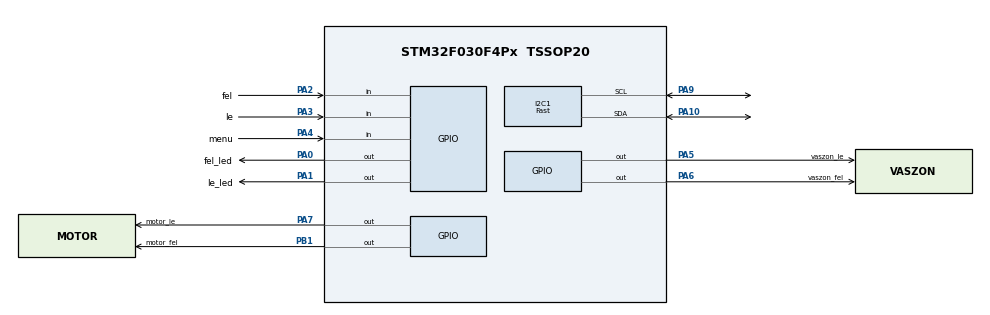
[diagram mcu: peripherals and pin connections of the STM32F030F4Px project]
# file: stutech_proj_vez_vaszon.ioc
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I2C1.I2C_Speed_Mode=I2C_Fast
I2C1.Timing=0x0000020B
Mcu.Family=STM32F0
Mcu.Name=STM32F030F4Px
Mcu.Package=TSSOP20
NVIC.TIM17_IRQn=true\:0\:0\:false\:false\:true\:true\:true
PA0.GPIO_Label=fel_led
PA0.GPIO_Speed=GPIO_SPEED_FREQ_HIGH
PA0.Signal=GPIO_Output
PA1.GPIO_Label=le_led
PA1.GPIO_Speed=GPIO_SPEED_FREQ_HIGH
PA1.Signal=GPIO_Output
PA10.Mode=I2C
PA10.Signal=I2C1_SDA
PA13.Mode=Serial_Wire
PA13.Signal=SYS_SWDIO
PA14.Mode=Serial_Wire
PA14.Signal=SYS_SWCLK
PA2.GPIO_Label=fel
PA2.Signal=GPIO_Input
PA3.GPIO_Label=le
PA3.Signal=GPIO_Input
PA4.GPIO_Label=menu
PA4.Signal=GPIO_Input
PA5.GPIO_Label=vaszon_le
PA5.GPIO_Speed=GPIO_SPEED_FREQ_HIGH
PA5.Signal=GPIO_Output
PA6.GPIO_Label=vaszon_fel
PA6.GPIO_Speed=GPIO_SPEED_FREQ_HIGH
PA6.Signal=GPIO_Output
PA7.GPIO_Label=motor_le
PA7.GPIO_Speed=GPIO_SPEED_FREQ_HIGH
PA7.Signal=GPIO_Output
PA9.Mode=I2C
PA9.Signal=I2C1_SCL
PB1.GPIO_Label=motor_fel
PB1.GPIO_Speed=GPIO_SPEED_FREQ_HIGH
PB1.Signal=GPIO_Output
PF0-OSC_IN.Mode=HSE-External-Oscillator
PF0-OSC_IN.Signal=RCC_OSC_IN
PF1-OSC_OUT.Mode=HSE-External-Oscillator
PF1-OSC_OUT.Signal=RCC_OSC_OUT
ProjectManager.HeapSize=0x200
ProjectManager.StackSize=0x400
ProjectManager.TargetToolchain=MDK-ARM V5.27
RCC.AHBFreq_Value=48000000
RCC.APB1Freq_Value=48000000
RCC.APB1TimFreq_Value=48000000
RCC.HCLKFreq_Value=48000000
RCC.PLLMUL=RCC_PLL_MUL6
RCC.PLLSourceVirtual=RCC_PLLSOURCE_HSE
RCC.SYSCLKFreq_VALUE=48000000
RCC.SYSCLKSource=RCC_SYSCLKSOURCE_PLLCLK
TIM17.AutoReloadPreload=TIM_AUTORELOAD_PRELOAD_ENABLE
TIM17.Period=4469
TIM17.Prescaler=10
VP_TIM17_VS_ClockSourceINT.Mode=Enable_Timer
board=custom

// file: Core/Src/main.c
/* USER CODE BEGIN Header */
/**
  ******************************************************************************
  * @file           : main.c
  * @brief          : Main program body
  ******************************************************************************
  * @attention
  *
  * <h2><center>&copy; Copyright ( c ) 2020 STMicroelectronics.
  * All rights reserved.</center></h2>
  *
  * This software component is licensed by ST under BSD 3-Clause license,
  * the "License"; You may not use this file except in compliance with the
  * License. You may obtain a copy of the License at:
  *                        opensource.org/licenses/BSD-3-Clause
  *
  ******************************************************************************
  */
/* USER CODE END Header */
#include "main.h"

/* USER CODE BEGIN Includes */
#include "ssd1306.h"
#include "stdio.h"
/* USER CODE END Includes */

/* USER CODE BEGIN PD */
#define MENU_PRESSED 0x1
#define FEL_PRESSED 0x2
#define LE_PRESSED 0x4

/* USER CODE END PD */

I2C_HandleTypeDef hi2c1;

TIM_HandleTypeDef htim17;

/* USER CODE BEGIN PV */
int actgomb[ 4 ];
int lastgomb[ 4 ];
int prelltime = 10;
int prelltimer;
char buffer[ 40 ];
char buffer2[ 40 ];
uint8_t flags;
int menutime;
int delaycount = 0;
uint8_t menucount;
uint8_t disptime;
int menukilepes = 20000;
int temp[ 4 ];
uint8_t state = 0;
uint32_t vaszonfeldelay,vaszonledelay,motorfeldelay,motorledelay,motorle1mp = 0,motorfel1mp = 0;
uint8_t laststate;
uint8_t ledone = 1,feldone = 1;
int lecounter,felcounter,feltime,letime;
uint8_t villtimer;
/* USER CODE END PV */

void SystemClock_Config( void );
static void MX_GPIO_Init( void );
static void MX_TIM17_Init( void );
static void MX_I2C1_Init( void );
/* USER CODE BEGIN PFP */
void readgomb( void );
int eeprom_read( uint8_t id );
void eeprom_write( int data,int addr );
/* USER CODE END PFP */

/* USER CODE BEGIN 0 */
void readgomb( void )
					{
						actgomb[ 0 ] = HAL_GPIO_ReadPin( fel_GPIO_Port, fel_Pin );
						actgomb[ 1 ] = HAL_GPIO_ReadPin( le_GPIO_Port, le_Pin );
						actgomb[ 2 ] = HAL_GPIO_ReadPin( menu_GPIO_Port, menu_Pin );
					}
int eeprom_read( uint8_t id )
{
	int eepromvalue;
	switch ( id )
	{
		case 0:
			eepromvalue = *(__IO uint16_t *)(0x8003C02);
		break;
		case 1:
			eepromvalue = *(__IO uint16_t *)(0x8003C02 + 2);
		break;
		case 2:
			eepromvalue = *(__IO uint16_t *)(0x8003C02 + 4);
		break;
		case 3:
			eepromvalue = *(__IO uint16_t *)(0x8003C02 + 6);
		break;
	}
	if( eepromvalue > 300)
	{
		eepromvalue = 300;
	}
	return eepromvalue;
}
void eeprom_write( int data,int addr )
{

	switch ( addr )
	{
		case 0:
			HAL_FLASH_Unlock();
			HAL_FLASH_Program(FLASH_TYPEPROGRAM_HALFWORD,0x8003C02,data);
			HAL_FLASH_Lock();
		break;
		case 1:
			HAL_FLASH_Unlock();
			HAL_FLASH_Program(FLASH_TYPEPROGRAM_HALFWORD,0x8003C02+2,data);
			HAL_FLASH_Lock();
		break;
		case 2:
			HAL_FLASH_Unlock();
			HAL_FLASH_Program(FLASH_TYPEPROGRAM_HALFWORD,0x8003C02+4,data);
			HAL_FLASH_Lock();
		break;
		case 3:
			HAL_FLASH_Unlock();
			HAL_FLASH_Program(FLASH_TYPEPROGRAM_HALFWORD,0x8003C02+6,data);
			HAL_FLASH_Lock();
		break;
	}

}
/* USER CODE END 0 */

int main( void )
{

  /* MCU Configuration--------------------------------------------------------*/

  /* Reset of all peripherals, Initializes the Flash interface and the Systick. */
  HAL_Init( );

  /* Configure the system clock */
  SystemClock_Config( );

  /* Initialize all configured peripherals */
  MX_GPIO_Init( );
  MX_TIM17_Init( );
  MX_I2C1_Init( );
  /* USER CODE BEGIN 2 */
	readgomb( );
	lastgomb[ 0 ] = actgomb[ 0 ];
	lastgomb[ 1 ] = actgomb[ 1 ];
	lastgomb[ 2 ] = actgomb[ 2 ];

	temp[ 0 ] = eeprom_read( 0 );
	temp[ 1 ] = eeprom_read( 1 );
	temp[ 2 ] = eeprom_read( 2 );
	temp[ 3 ] = eeprom_read( 3 );
//temp[0] = 0;
//temp[1] = 0;
//temp[2] = 0;
//temp[3] = 0;

	ssd1306_Init( );
	ssd1306_SetCursor( 0,0 );
	ssd1306_WriteString( "hello",Font_7x10,White );
	ssd1306_UpdateScreen( );
	HAL_TIM_Base_Start_IT( &htim17 );
  /* USER CODE END 2 */

  /* Infinite loop */
  /* USER CODE BEGIN WHILE */
    while ( 1 )
    {
			if( ( disptime > 100 ) && ( prelltimer == 0 ) )
			{
				switch ( menucount )
				{
					case 0:
						if( state == 0 )
						{
							switch( laststate )
							{
								case 0:
									sprintf( buffer,"1 egyseg =    " );
									sprintf( buffer2,"0.5 mp       ");
									HAL_GPIO_WritePin(le_led_GPIO_Port,le_led_Pin,GPIO_PIN_RESET);
									HAL_GPIO_WritePin(fel_led_GPIO_Port,fel_led_Pin,GPIO_PIN_RESET);
									break;
								case 1:
									sprintf( buffer,"leengedve    " );
									sprintf( buffer2,"M:%d V:%d         ", temp[ 0 ], temp[ 1 ] );
									HAL_GPIO_WritePin(le_led_GPIO_Port,le_led_Pin,GPIO_PIN_RESET);
									HAL_GPIO_WritePin(fel_led_GPIO_Port,fel_led_Pin,GPIO_PIN_RESET);
									break;
								case 2:
									sprintf( buffer,"felhuzva    " );
									sprintf( buffer2,"M:%d V:%d         ", temp[ 2 ], temp[ 3 ] );
									HAL_GPIO_WritePin(le_led_GPIO_Port,le_led_Pin,GPIO_PIN_RESET);
									HAL_GPIO_WritePin(fel_led_GPIO_Port,fel_led_Pin,GPIO_PIN_RESET);
									break;
								case 3:
									sprintf( buffer,"le stop    " );
									sprintf( buffer2,"M:%d V:%d         ", motorledelay/500, vaszonledelay/500 );
									HAL_GPIO_WritePin(le_led_GPIO_Port,le_led_Pin,GPIO_PIN_SET);
									HAL_GPIO_WritePin(fel_led_GPIO_Port,fel_led_Pin,GPIO_PIN_RESET);
									break;
								case 4:
									sprintf( buffer,"fel stop    " );
									sprintf( buffer2,"M:%d V:%d         ", motorfeldelay/500, vaszonfeldelay/500 );
									HAL_GPIO_WritePin(le_led_GPIO_Port,le_led_Pin,GPIO_PIN_RESET);
									HAL_GPIO_WritePin(fel_led_GPIO_Port,fel_led_Pin,GPIO_PIN_SET);
									break;
							}
						}
						if( state == 1 )
						{
							villtimer++;
							if( villtimer > 4 )
							{
								HAL_GPIO_TogglePin(le_led_GPIO_Port,le_led_Pin);
								HAL_GPIO_WritePin(fel_led_GPIO_Port,fel_led_Pin,GPIO_PIN_RESET);
								villtimer = 0;
							}
							sprintf( buffer,"leenged      " );
							sprintf( buffer2,"M:%d V:%d        ", ( motorledelay + motorle1mp )/500, vaszonledelay/500 );
						}
						if( state == 2 )
						{
							villtimer++;
							if( villtimer > 4 )
							{
								HAL_GPIO_TogglePin(fel_led_GPIO_Port,fel_led_Pin);
								HAL_GPIO_WritePin(le_led_GPIO_Port,le_led_Pin,GPIO_PIN_RESET);
								villtimer = 0;
							}
							sprintf( buffer,"felhuz        " );
							sprintf( buffer2,"M:%d V:%d        ", ( motorfeldelay + motorfel1mp )/500, vaszonfeldelay/500 );
						}
					break;
					case 1:
						sprintf( buffer,"Motor le:     " );
						sprintf( buffer2,"%d x0.5mp       ", temp[ 0 ] );
					break;
					case 2:
						sprintf( buffer,"Vaszon le:    " );
						sprintf( buffer2,"%d x0.5mp       ", temp[ 1 ] );
					break;
					case 3:
						sprintf( buffer,"Motor fel:  " );
						sprintf( buffer2,"%d x0.5mp       ", temp[ 2 ] );
					break;
					case 4:
						sprintf( buffer,"Vaszon fel: " );
						sprintf( buffer2,"%d x0.5mp       ", temp[ 3 ] );
					break;
				}
				ssd1306_SetCursor( 0, 0 );
				ssd1306_WriteString( buffer,Font_11x18,White );
				ssd1306_SetCursor( 0, 17 );
				ssd1306_WriteString( buffer2,Font_11x18,White );
				ssd1306_UpdateScreen( );
			}

			readgomb( );
			if( ( lastgomb[ 0 ] != actgomb[ 0 ] ) ||
				  ( lastgomb[ 1 ] != actgomb[ 1 ] ) ||
				  ( lastgomb[ 2 ] != actgomb[ 2 ] ) )
						{
								prelltimer = prelltime;
								while( prelltimer > 0 )
												{
														readgomb( );
														if( lastgomb[ 0 ] != actgomb[ 0 ] )
															{
																	prelltimer = prelltime;
																	lastgomb[ 0 ] = actgomb[ 0 ];
															}
														if( lastgomb[ 1 ] != actgomb[ 1 ] )
															{
																	prelltimer = prelltime;
																	lastgomb[ 1 ] = actgomb[ 1 ];
															}
														if( lastgomb[ 2 ] != actgomb[ 2 ] )
															{
																	prelltimer = prelltime;
																	lastgomb[ 2 ] = actgomb[ 2 ];
															}
												}
								if( lastgomb[ 0 ] == 0 )//gomb1 FEL
								{
									flags |= FEL_PRESSED;
									feltime = 500;
									if( menucount == 0 )
										{
											if( state == 0 )
												{
													motorledelay = temp[ 0 ] * 500;
													vaszonledelay = temp[ 1 ] * 500;
													state = 2;
												}
											if( state != 2 )
												{
													state = 0;
													ledone = 1;
													laststate = 3;
												}
											if( ( state == 2 ) && ( feldone == 1 ) )
												{
													feldone = 0;
													laststate = 2;
													motorfel1mp = 1000;
													if( motorfeldelay == 0 )
														{
															motorfeldelay = temp[ 2 ] * 500;
														}
													if( vaszonfeldelay == 0 )
														{
															vaszonfeldelay = temp[ 3 ] * 500;
														}
												}
										}
									if ( menucount != 0 )
									{
										menukilepes = 20000;
									}
									switch ( menucount )
									{
										case 1:
											temp[ 0 ] ++;
										if( temp[ 0 ] > 300 )
											{
												temp[ 0 ] = 0;
											}
										break;
										case 2:
											temp[ 1 ] ++;
										if( temp[ 1 ] > 300 )
											{
												temp[ 1 ] = 0;
											}
										break;
										case 3:
											temp[ 2 ] ++;
										if( temp[ 2 ] > 300 )
											{
												temp[ 2 ] = 0;
											}
										break;
										case 4:
											temp[ 3 ] ++;
										if( temp[ 3 ] > 300 )
											{
												temp[ 3 ] = 0;
											}
										break;
										default:
											break;
									}
								}
								else
									{
										flags &= ~FEL_PRESSED;
									}
								if( lastgomb[ 1 ] == 0 )//gomb2 LEFELE
									{
										flags |= LE_PRESSED;
										letime = 500;
										if( menucount == 0 )
											{
												if ( state == 0 )
													{
														state = 1;
														motorfeldelay = temp[ 2 ] * 500;
														vaszonfeldelay = temp[ 3 ] * 500;
													}
												if(  state != 1   )
													{
														state = 0;
														laststate = 4;
														feldone= 1;
													}
												if( ( state == 1 ) && ( ledone == 1 ) )
													{
														ledone = 0;
														laststate = 1;
														motorle1mp = 1000;
														if( motorledelay == 0 )
															{
																motorledelay = temp[ 0 ] * 500;

															}
														if( vaszonledelay == 0 )
															{
																vaszonledelay = temp[ 1 ] * 500;

															}
													}
											 }
										if ( menucount != 0 )
											{
												menukilepes = 20000;
											}
										switch ( menucount )
											{
												case 1:
													temp[ 0 ] --;
													if ( temp[ 0 ] < 0 )
														{
															temp[ 0 ] = 300;
														}
												break;
												case 2:
													temp[ 1 ] --;
													if ( temp[ 1 ] < 0 )
														{
															temp[ 1 ] = 300;
														}
												break;
												case 3:
													temp[ 2 ] --;
													if ( temp[ 2 ] < 0 )
														{
															temp[ 2 ] = 300;
														}
												break;
												case 4:
													temp[ 3 ] --;
													if ( temp[ 3 ] < 0 )
														{
															temp[ 3 ] = 300;
														}
												break;
												default:
													break;
											}
									}
									else
									{
										flags &= ~LE_PRESSED;
									}
								if( lastgomb[ 2 ] == 0 )//gomb3
									{
										if ( menucount != 0 )
											{
												menukilepes = 20000;
											}
											flags |= MENU_PRESSED;
									}
								else
									{
										flags &= ~MENU_PRESSED;
									}
	      }
    /* USER CODE END WHILE */

    }
}

void SystemClock_Config( void )
{
  RCC_OscInitTypeDef RCC_OscInitStruct = {0};
  RCC_ClkInitTypeDef RCC_ClkInitStruct = {0};
  RCC_PeriphCLKInitTypeDef PeriphClkInit = {0};

  /** Initializes the RCC Oscillators according to the specified parameters
  * in the RCC_OscInitTypeDef structure.
  */
  RCC_OscInitStruct.OscillatorType = RCC_OSCILLATORTYPE_HSI|RCC_OSCILLATORTYPE_HSE;
  RCC_OscInitStruct.HSEState = RCC_HSE_ON;
  RCC_OscInitStruct.HSIState = RCC_HSI_ON;
  RCC_OscInitStruct.HSICalibrationValue = RCC_HSICALIBRATION_DEFAULT;
  RCC_OscInitStruct.PLL.PLLState = RCC_PLL_ON;
  RCC_OscInitStruct.PLL.PLLSource = RCC_PLLSOURCE_HSE;
  RCC_OscInitStruct.PLL.PLLMUL = RCC_PLL_MUL6;
  RCC_OscInitStruct.PLL.PREDIV = RCC_PREDIV_DIV1;
  if ( HAL_RCC_OscConfig( &RCC_OscInitStruct ) != HAL_OK )
  {
    Error_Handler( );
  }
  /** Initializes the CPU, AHB and APB buses clocks
  */
  RCC_ClkInitStruct.ClockType = RCC_CLOCKTYPE_HCLK|RCC_CLOCKTYPE_SYSCLK
                              |RCC_CLOCKTYPE_PCLK1;
  RCC_ClkInitStruct.SYSCLKSource = RCC_SYSCLKSOURCE_PLLCLK;
  RCC_ClkInitStruct.AHBCLKDivider = RCC_SYSCLK_DIV1;
  RCC_ClkInitStruct.APB1CLKDivider = RCC_HCLK_DIV1;

  if ( HAL_RCC_ClockConfig( &RCC_ClkInitStruct, FLASH_LATENCY_1 ) != HAL_OK )
  {
    Error_Handler( );
  }
  PeriphClkInit.PeriphClockSelection = RCC_PERIPHCLK_I2C1;
  PeriphClkInit.I2c1ClockSelection = RCC_I2C1CLKSOURCE_HSI;
  if ( HAL_RCCEx_PeriphCLKConfig( &PeriphClkInit ) != HAL_OK )
  {
    Error_Handler( );
  }
}

static void MX_I2C1_Init( void )
{

  hi2c1.Instance = I2C1;
  hi2c1.Init.Timing = 0x0000020B;
  hi2c1.Init.OwnAddress1 = 0;
  hi2c1.Init.AddressingMode = I2C_ADDRESSINGMODE_7BIT;
  hi2c1.Init.DualAddressMode = I2C_DUALADDRESS_DISABLE;
  hi2c1.Init.OwnAddress2 = 0;
  hi2c1.Init.OwnAddress2Masks = I2C_OA2_NOMASK;
  hi2c1.Init.GeneralCallMode = I2C_GENERALCALL_DISABLE;
  hi2c1.Init.NoStretchMode = I2C_NOSTRETCH_DISABLE;
  if ( HAL_I2C_Init( &hi2c1 ) != HAL_OK )
  {
    Error_Handler( );
  }
  /** Configure Analogue filter
  */
  if ( HAL_I2CEx_ConfigAnalogFilter( &hi2c1, I2C_ANALOGFILTER_ENABLE ) != HAL_OK )
  {
    Error_Handler( );
  }
  /** Configure Digital filter
  */
  if ( HAL_I2CEx_ConfigDigitalFilter( &hi2c1, 0 ) != HAL_OK )
  {
    Error_Handler( );
  }

}

static void MX_TIM17_Init( void )
{

  htim17.Instance = TIM17;
  htim17.Init.Prescaler = 10;
  htim17.Init.CounterMode = TIM_COUNTERMODE_UP;
  htim17.Init.Period = 4469;
  htim17.Init.ClockDivision = TIM_CLOCKDIVISION_DIV1;
  htim17.Init.RepetitionCounter = 0;
  htim17.Init.AutoReloadPreload = TIM_AUTORELOAD_PRELOAD_ENABLE;
  if ( HAL_TIM_Base_Init( &htim17 ) != HAL_OK )
  {
    Error_Handler( );
  }

}

static void MX_GPIO_Init( void )
{
  GPIO_InitTypeDef GPIO_InitStruct = {0};

  /* GPIO Ports Clock Enable */
  __HAL_RCC_GPIOF_CLK_ENABLE( );
  __HAL_RCC_GPIOA_CLK_ENABLE( );
  __HAL_RCC_GPIOB_CLK_ENABLE( );

  /*Configure GPIO pin Output Level */
  HAL_GPIO_WritePin( GPIOA, fel_led_Pin|le_led_Pin|vaszon_le_Pin|vaszon_fel_Pin
                          |motor_le_Pin, GPIO_PIN_RESET );

  /*Configure GPIO pin Output Level */
  HAL_GPIO_WritePin( motor_fel_GPIO_Port, motor_fel_Pin, GPIO_PIN_RESET );

  /*Configure GPIO pins : fel_led_Pin le_led_Pin vaszon_le_Pin vaszon_fel_Pin
                           motor_le_Pin */
  GPIO_InitStruct.Pin = fel_led_Pin|le_led_Pin|vaszon_le_Pin|vaszon_fel_Pin
                          |motor_le_Pin;
  GPIO_InitStruct.Mode = GPIO_MODE_OUTPUT_PP;
  GPIO_InitStruct.Pull = GPIO_NOPULL;
  GPIO_InitStruct.Speed = GPIO_SPEED_FREQ_LOW;
  HAL_GPIO_Init( GPIOA, &GPIO_InitStruct );

  /*Configure GPIO pins : fel_Pin le_Pin menu_Pin */
  GPIO_InitStruct.Pin = fel_Pin|le_Pin|menu_Pin;
  GPIO_InitStruct.Mode = GPIO_MODE_INPUT;
  GPIO_InitStruct.Pull = GPIO_PULLUP;
  HAL_GPIO_Init( GPIOA, &GPIO_InitStruct );

  /*Configure GPIO pin : motor_fel_Pin */
  GPIO_InitStruct.Pin = motor_fel_Pin;
  GPIO_InitStruct.Mode = GPIO_MODE_OUTPUT_PP;
  GPIO_InitStruct.Pull = GPIO_NOPULL;
  GPIO_InitStruct.Speed = GPIO_SPEED_FREQ_HIGH;
  HAL_GPIO_Init( motor_fel_GPIO_Port, &GPIO_InitStruct );

}

/* USER CODE BEGIN 4 */
void HAL_TIM_PeriodElapsedCallback( TIM_HandleTypeDef *htim )
					{
						if( flags & LE_PRESSED )
						{
							letime--;
							if( letime <= 1 )
							{
								letime = 1;
								lecounter++;
								if( lecounter > 50 )
								{
									if ( menucount != 0 )
									{
										menukilepes = 20000;
									}
									switch ( menucount )
											{
												case 1:
													temp[ 0 ] --;
													if ( temp[ 0 ] < 0 )
														{
															temp[ 0 ] = 300;
														}
												break;
												case 2:
													temp[ 1 ] --;
													if ( temp[ 1 ] < 0 )
														{
															temp[ 1 ] = 300;
														}
												break;
												case 3:
													temp[ 2 ] --;
													if ( temp[ 2 ] < 0 )
														{
															temp[ 2 ] = 300;
														}
												break;
												case 4:
													temp[ 3 ] --;
													if ( temp[ 3 ] < 0 )
														{
															temp[ 3 ] = 300;
														}
												break;
												default:
													break;
											}
											lecounter = 0;
								}
							}
						}
						if( flags & FEL_PRESSED )
						{
							feltime--;
							if( feltime <=1 )
							{
								feltime = 1;
								felcounter++;
								if( felcounter > 50 )
								{
									if ( menucount != 0 )
									{
										menukilepes = 20000;
									}
									switch ( menucount )
									{
										case 1:
											temp[ 0 ] ++;
										if( temp[ 0 ] > 300 )
											{
												temp[ 0 ] = 0;
											}
										break;
										case 2:
											temp[ 1 ] ++;
										if( temp[ 1 ] > 300 )
											{
												temp[ 1 ] = 0;
											}
										break;
										case 3:
											temp[ 2 ] ++;
										if( temp[ 2 ] > 300 )
											{
												temp[ 2 ] = 0;
											}
										break;
										case 4:
											temp[ 3 ] ++;
										if( temp[ 3 ] > 300 )
											{
												temp[ 3 ] = 0;
											}
										break;
										default:
											break;
									}
									felcounter = 0;
								}
							}
						}
						disptime++;
						switch ( state )
						{
							case 0:
							HAL_GPIO_WritePin(motor_fel_GPIO_Port,motor_fel_Pin,GPIO_PIN_RESET);
							HAL_GPIO_WritePin(motor_le_GPIO_Port,motor_le_Pin,GPIO_PIN_RESET);
							HAL_GPIO_WritePin(vaszon_fel_GPIO_Port,vaszon_fel_Pin,GPIO_PIN_RESET);
							HAL_GPIO_WritePin(vaszon_le_GPIO_Port,vaszon_le_Pin,GPIO_PIN_RESET);
							break;

							case 1:
							if( motorle1mp > 0 )
							{
								motorle1mp--;
							}
							else if( motorle1mp == 0 )
							{
								if( vaszonledelay > 0 )
								{
									HAL_GPIO_WritePin(vaszon_le_GPIO_Port,vaszon_le_Pin,GPIO_PIN_SET);
									vaszonledelay--;
								}
								else
								{
									HAL_GPIO_WritePin(vaszon_le_GPIO_Port,vaszon_le_Pin,GPIO_PIN_RESET);
								}
							}
								if( motorledelay > 0 )
								{
									HAL_GPIO_WritePin(motor_le_GPIO_Port,motor_le_Pin,GPIO_PIN_SET);
									motorledelay--;

								}
								else
								{
									HAL_GPIO_WritePin(motor_le_GPIO_Port,motor_le_Pin,GPIO_PIN_RESET);
								}
								if( (vaszonledelay == 0) && (motorledelay == 0))
								{
									state = 0;
									ledone = 1;
								}

							break;

							case 2:
								if( motorfel1mp > 0 )
									{
										motorfel1mp--;
									}
								if( motorfel1mp == 0 )
									{
										if( vaszonfeldelay > 0 )
										{
											HAL_GPIO_WritePin( vaszon_fel_GPIO_Port,vaszon_fel_Pin,GPIO_PIN_SET );
											vaszonfeldelay--;
										}
										else
										{
											HAL_GPIO_WritePin( vaszon_fel_GPIO_Port,vaszon_fel_Pin,GPIO_PIN_RESET );
										}
									}
									if( motorfeldelay > 0 )
										{
											HAL_GPIO_WritePin( motor_fel_GPIO_Port,motor_fel_Pin,GPIO_PIN_SET );
											motorfeldelay--;
										}
										else
										{
											HAL_GPIO_WritePin( motor_fel_GPIO_Port,motor_fel_Pin,GPIO_PIN_RESET );
										}
									if( ( vaszonfeldelay == 0 ) && ( motorfeldelay == 0 ) )
										{
											state = 0;
											feldone = 1;
										}

							break;

							case 3:
							break;

							case 4:
							break;
						}
						if( menucount != 0 )
						{
							if( menukilepes > 0 )
							{
								menukilepes--;
							}
							if ( menukilepes == 0 )
							{
								uint32_t error;
									HAL_FLASH_Unlock();
									FLASH_EraseInitTypeDef EraseInitStruct;
									EraseInitStruct.TypeErase = FLASH_TYPEERASE_PAGES;
									EraseInitStruct.NbPages = 1;
									EraseInitStruct.PageAddress = 0x8003C00; //Specify sector number!
									HAL_FLASHEx_Erase(&EraseInitStruct,&error);
									HAL_FLASH_Lock();

										eeprom_write( temp[ 0 ], 0 );
										eeprom_write( temp[ 1 ], 1 );
										eeprom_write( temp[ 2 ], 2 );
										eeprom_write( temp[ 3 ], 3 );
								menucount = 0;
							}
						}
						if( prelltimer > 0 )
						{
							prelltimer--;
						}
						if( flags & MENU_PRESSED )
						{
							++menutime;
							if( menutime >2000 )
							{
								state = 0;
								motorledelay = 0;
								vaszonledelay = 0;
								motorfeldelay = 0;
								vaszonfeldelay = 0;
								feldone = 1;
								ledone = 1;
								laststate = 0;
								menutime = 0;
								HAL_GPIO_WritePin(le_led_GPIO_Port,le_led_Pin,GPIO_PIN_RESET);
								HAL_GPIO_WritePin(fel_led_GPIO_Port,fel_led_Pin,GPIO_PIN_RESET);
								if( ( menucount == 1 ) || ( menucount == 2 ) || ( menucount == 3 ) || ( menucount == 4 ) )
								{
									uint32_t error;
									HAL_FLASH_Unlock();
									FLASH_EraseInitTypeDef EraseInitStruct;
									EraseInitStruct.TypeErase = FLASH_TYPEERASE_PAGES;
									EraseInitStruct.NbPages = 1;
									EraseInitStruct.PageAddress = 0x8003C00; //Specify sector number!
									HAL_FLASHEx_Erase(&EraseInitStruct,&error);
									HAL_FLASH_Lock();

										eeprom_write( temp[ 0 ], 0 );
										eeprom_write( temp[ 1 ], 1 );
										eeprom_write( temp[ 2 ], 2 );
										eeprom_write( temp[ 3 ], 3 );

								}
								menucount++;
								if ( menucount != 0 )
											{
												menukilepes = 20000;
											}

								if( menucount > 4 )
								{
									menucount = 0;
								}
							}
						}
						else
						{
							menutime = 0;
						}

					}
/* USER CODE END 4 */

void Error_Handler( void )
{
}

/************************ ( C ) COPYRIGHT STMicroelectronics *****END OF FILE****/
